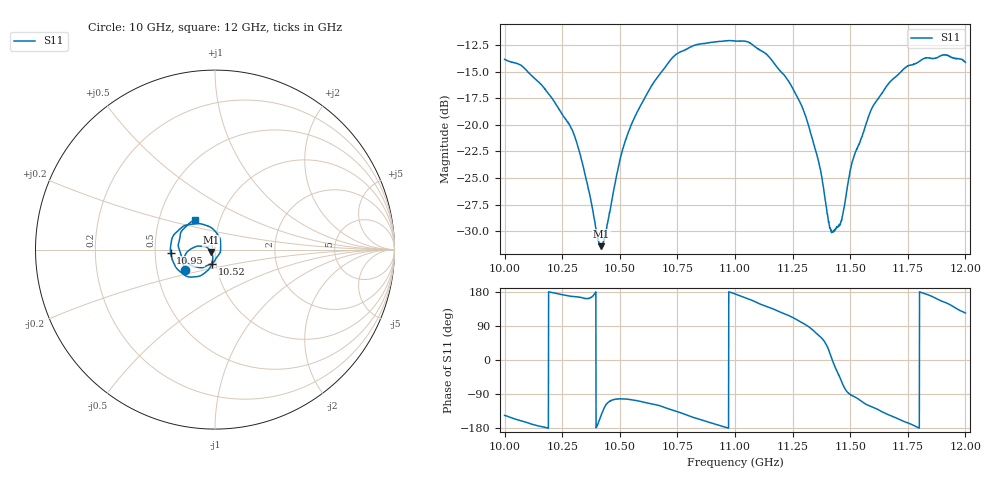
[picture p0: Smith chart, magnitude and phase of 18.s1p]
[Version] 2.0
! Rohde & Schwarz Vector Network Analyzer
! Rohde-Schwarz,ZNL20-2Port,1323001220200009,1.71.1.10-23.02.1.238
! Port Assignments:
! Nominal Port -> Actual Test Port
!  1 -> 1
! Created: GMT 2024-08-27 12:55:40
# Hz S DB R 50
[Number of Ports] 1
! freq[Hz]  S11[mag dB]  S11[ang]
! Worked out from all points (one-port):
!   2001 points, 10 GHz to 12 GHz, reference 50 ohm
!   lowest |S11| = -31.4 dB at 10.42 GHz (marker M1), VSWR 1.06, Z = 47.9 - j1.53 ohm
!   |S11| at or under -10 dB: start of sweep to end of sweep
!   S11 on the Smith chart (normalised r, x): 10 GHz: 0.70, -0.16; 10.52 GHz: 0.95, -0.15; 10.95 GHz: 0.60, -0.02; 12 GHz: 0.76, +0.26
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[Number of Frequencies] 28
[Network Data]
1e10  -13.85 -146.2
1.0084e10  -14.64 -162.7
1.025e10  -19.01 172.3
1.0315e10  -21.80 166.6
1.0366e10  -26.23 162.8
1.0404e10  -30.52 -170.5
1.042e10  -31.40 -143.7
1.044e10  -29.92 -117.6
1.05e10  -23.34 -102.5
1.052e10  -21.78 -102.6
1.0629e10  -16.66 -114.8
1.075e10  -13.30 -136.4
1.0951e10  -12.14 -176.0
1.1e10  -12.13 174.4
1.1133e10  -13.29 141.7
1.125e10  -16.54 112.4
1.1299e10  -18.74 96.0
1.1354e10  -22.71 70.3
1.1376e10  -24.83 57.8
1.1406e10  -29.16 27.6
1.1419e10  -30.13 5.8
1.146e10  -29.11 -53.1
1.15e10  -24.29 -91.2
1.1598e10  -18.29 -124.5
1.167e10  -16.03 -145.4
1.175e10  -14.49 -166.0
1.1902e10  -13.45 154.3
1.2e10  -14.13 124.1
[End]
